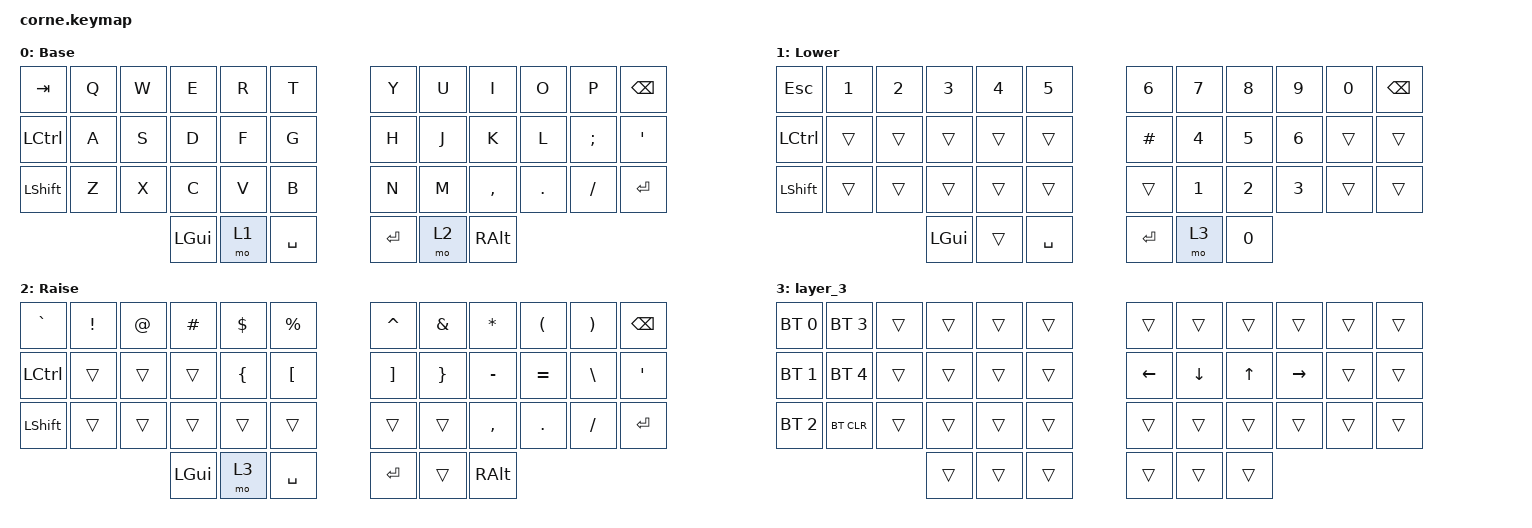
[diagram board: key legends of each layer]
/*
 * Copyright (c) 2020 The ZMK Contributors
 *
 * SPDX-License-Identifier: MIT
 */

#include <behaviors.dtsi>
#include <dt-bindings/zmk/bt.h>
#include <dt-bindings/zmk/keys.h>

/ {
    keymap {
        compatible = "zmk,keymap";

        default_layer {
            // -----------------------------------------------------------------------------------------
            // |  TAB |  Q  |  W  |  E  |  R  |  T  |   |  Y  |  U   |  I  |  O  |  P  | BKSP |
            // | CTRL |  A  |  S  |  D  |  F  |  G  |   |  H  |  J   |  K  |  L  |  ;  |  '   |
            // | SHFT |  Z  |  X  |  C  |  V  |  B  |   |  N  |  M   |  ,  |  .  |  /  | ESC  |
            //                    | GUI | LWR | SPC |   | ENT | RSE  | ALT |

            display-name = "Base";
            bindings = <
&kp TAB    &kp Q  &kp W  &kp E     &kp R  &kp T        &kp Y    &kp U  &kp I      &kp O    &kp P     &kp BSPC
&kp LCTRL  &kp A  &kp S  &kp D     &kp F  &kp G        &kp H    &kp J  &kp K      &kp L    &kp SEMI  &kp SQT
&kp LSHFT  &kp Z  &kp X  &kp C     &kp V  &kp B        &kp N    &kp M  &kp COMMA  &kp DOT  &kp FSLH  &kp RETURN
                         &kp LGUI  &mo 1  &kp SPACE    &kp RET  &mo 2  &kp RALT
            >;
        };

        lower_layer {
            // -----------------------------------------------------------------------------------------
            // |  TAB |  1  |  2  |  3  |  4  |  5  |   |  6  |  7  |  8  |  9  |  0  | BKSP |
            // | BTCLR| BT1 | BT2 | BT3 | BT4 | BT5 |   | LFT | DWN |  UP | RGT |     |      |
            // | SHFT |     |     |     |     |     |   |     |     |     |     |     |      |
            //                    | GUI |     | SPC |   | ENT |     | ALT |

            display-name = "Lower";
            bindings = <
&kp ESCAPE      &kp N1  &kp N2  &kp N3    &kp N4  &kp N5       &kp N6    &kp N7  &kp N8  &kp N9  &kp N0  &kp BSPC
&kp LCTRL       &trans  &trans  &trans    &trans  &trans       &kp HASH  &kp N4  &kp N5  &kp N6  &trans  &trans
&kp LEFT_SHIFT  &trans  &trans  &trans    &trans  &trans       &trans    &kp N1  &kp N2  &kp N3  &trans  &trans
                                &kp LGUI  &trans  &kp SPACE    &kp RET   &mo 3   &kp N0
            >;
        };

        raise_layer {
            // -----------------------------------------------------------------------------------------
            // |  TAB |  !  |  @  |  #  |  $  |  %  |   |  ^  |  &  |  *  |  (  |  )  | BKSP |
            // | CTRL |     |     |     |     |     |   |  -  |  =  |  [  |  ]  |  \  |  `   |
            // | SHFT |     |     |     |     |     |   |  _  |  +  |  {  |  }  | "|" |  ~   |
            //                    | GUI |     | SPC |   | ENT |     | ALT |

            display-name = "Raise";
            bindings = <
&kp GRAVE  &kp EXCL  &kp AT  &kp HASH  &kp DLLR        &kp PRCNT           &kp CARET          &kp AMPS         &kp ASTERISK  &kp LPAR    &kp RPAR   &kp BSPC
&kp LCTRL  &trans    &trans  &trans    &kp LEFT_BRACE  &kp LEFT_BRACKET    &kp RIGHT_BRACKET  &kp RIGHT_BRACE  &kp MINUS     &kp EQUAL   &kp BSLH   &kp SQT
&kp LSHFT  &trans    &trans  &trans    &trans          &trans              &trans             &trans           &kp COMMA     &kp PERIOD  &kp SLASH  &kp RET
                             &kp LGUI  &mo 3           &kp SPACE           &kp RET            &trans           &kp RALT
            >;
        };

        layer_3 {
            bindings = <
&bt BT_SEL 0  &bt BT_SEL 3  &trans  &trans  &trans  &trans    &trans    &trans    &trans        &trans     &trans  &trans
&bt BT_SEL 1  &bt BT_SEL 4  &trans  &trans  &trans  &trans    &kp LEFT  &kp DOWN  &kp UP_ARROW  &kp RIGHT  &trans  &trans
&bt BT_SEL 2  &bt BT_CLR    &trans  &trans  &trans  &trans    &trans    &trans    &trans        &trans     &trans  &trans
                                    &trans  &trans  &trans    &trans    &trans    &trans
            >;
        };
    };
};
